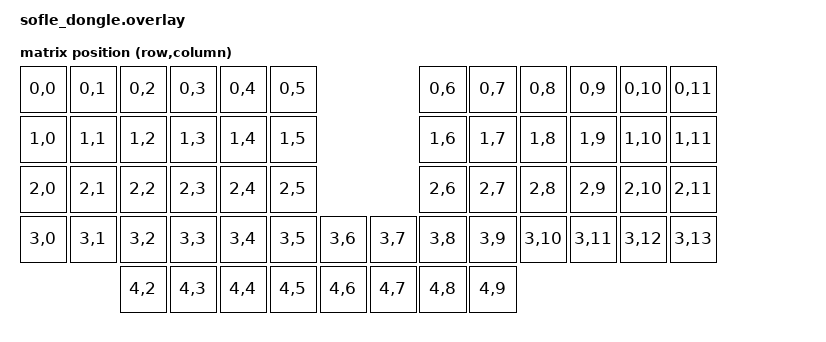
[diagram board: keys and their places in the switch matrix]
/*
 * Copyright (c) 2023 The ZMK Contributors
 *
 * SPDX-License-Identifier: MIT
 */

#include <dt-bindings/zmk/matrix_transform.h>

/ {
    chosen {
        zmk,kscan = &kscan0;
        zmk,matrix_transform = &default_transform;
    };

    default_transform: keymap_transform_0 {
        compatible = "zmk,matrix-transform";
        columns = <12>;
        rows = <5>;
        map = <
RC(0,0) RC(0,1) RC(0,2) RC(0,3) RC(0,4) RC(0,5)                 RC(0,6) RC(0,7) RC(0,8) RC(0,9) RC(0,10) RC(0,11)
RC(1,0) RC(1,1) RC(1,2) RC(1,3) RC(1,4) RC(1,5)                 RC(1,6) RC(1,7) RC(1,8) RC(1,9) RC(1,10) RC(1,11)
RC(2,0) RC(2,1) RC(2,2) RC(2,3) RC(2,4) RC(2,5)                 RC(2,6) RC(2,7) RC(2,8) RC(2,9) RC(2,10) RC(2,11)
RC(3,0) RC(3,1) RC(3,2) RC(3,3) RC(3,4) RC(3,5) RC(3,6) RC(3,7) RC(3,8) RC(3,9) RC(3,10) RC(3,11) RC(3,12) RC(3,13)
                RC(4,2) RC(4,3) RC(4,4) RC(4,5) RC(4,6) RC(4,7) RC(4,8) RC(4,9)
        >;
    };

    kscan0: kscan {
        compatible = "zmk,kscan-mock";
        label = "KSCAN";
        columns = <12>;
        rows = <5>;
        events = <>;
    };

    // Virtual sensors for receiving encoder data from split halves
    sensors {
        compatible = "zmk,keymap-sensors";
        sensors = <&left_encoder &right_encoder>;
        triggers-per-rotation = <20>;
    };

    left_encoder: encoder_left {
        compatible = "zmk,behavior-sensor-rotate";
        label = "LEFT_ENCODER";
        #sensor-binding-cells = <0>;
        bindings = <&inc_dec_kp C_VOL_UP C_VOL_DN>;
    };

    right_encoder: encoder_right {
        compatible = "zmk,behavior-sensor-rotate";
        label = "RIGHT_ENCODER";
        #sensor-binding-cells = <0>;
        bindings = <&inc_dec_kp PG_UP PG_DN>;
    };
};

// Enable I2C for NiceView display on NiceNano v2
&nice_nano_i2c {
    status = "okay";

    oled: ssd1306@3c {
        compatible = "solomon,ssd1306fb";
        reg = <0x3c>;
        label = "DISPLAY";
        width = <128>;
        height = <32>;
        segment-offset = <0>;
        page-offset = <0>;
        display-offset = <0>;
        multiplex-ratio = <31>;
        segment-remap;
        com-invdir;
        com-sequential;
        prechargep = <0x22>;
    };
};

/ {
    chosen {
        zephyr,display = &oled;
    };
};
